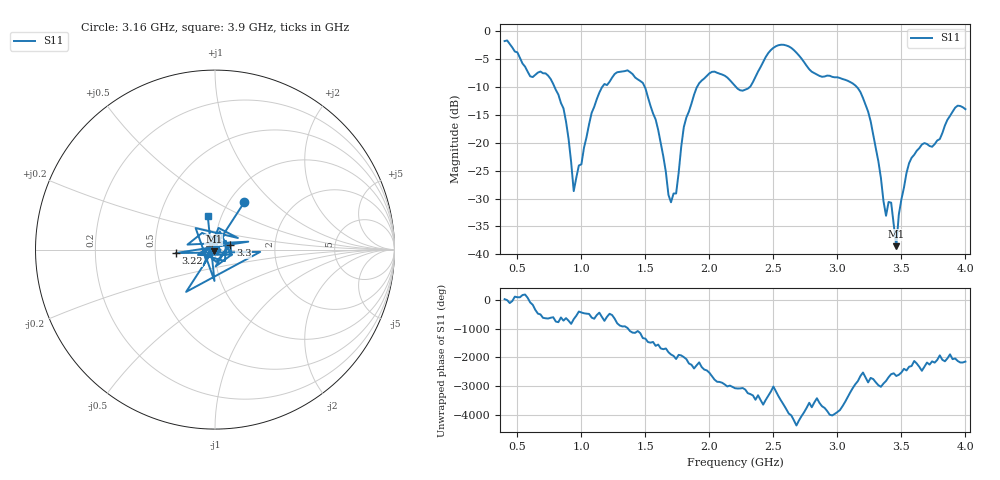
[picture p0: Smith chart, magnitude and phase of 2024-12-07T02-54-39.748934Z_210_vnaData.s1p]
!Created with skrf (http://scikit-rf.org).
# Hz S RI R 50.0
!freq ReS11 ImS11
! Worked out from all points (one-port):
!   181 points, 400 MHz to 4 GHz, reference 50 ohm
!   lowest |S11| = -38.5 dB at 3.46 GHz (marker M1), VSWR 1.02, Z = 49.3 - j0.974 ohm
!   |S11| at or under -10 dB: 790.4 MHz to 1.162 GHz (371.5 MHz wide, 38.1 % of centre); 1.496 GHz to 1.903 GHz (407.3 MHz wide, 24 % of centre); 3.152 GHz to end of sweep (the widest 3 of 4)
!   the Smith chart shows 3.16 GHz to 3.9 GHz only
!   S11 on the Smith chart (normalised r, x): 3.16 GHz: 1.17, +0.68; 3.22 GHz: 0.64, -0.03; 3.3 GHz: 1.19, +0.06; 3.9 GHz: 0.86, +0.33
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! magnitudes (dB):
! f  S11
! 400 MHz  -1.8
! 600 MHz  -8.1
! 740 MHz  -8.0
! 860 MHz  -13.8
! 940 MHz  -28.7
! 1.12 GHz  -12.2
! 1.3 GHz  -7.3
! 1.5 GHz  -10.2
! 1.6 GHz  -17.7
! 1.7 GHz  -30.7
! 1.76 GHz  -25.3
! 1.8 GHz  -17.2
! 1.92 GHz  -9.3
! 2.2 GHz  -9.8
! 2.32 GHz  -9.9
! 2.52 GHz  -2.7
! 2.66 GHz  -3.4
! 3.1 GHz  -9.1
! 3.16 GHz  -10.2
! 3.22 GHz  -13.2
! 3.3 GHz  -21.0
! 3.38 GHz  -33.1
! 3.42 GHz  -30.7
! 3.46 GHz  -38.5
! 3.48 GHz  -32.8
! 3.56 GHz  -23.7
! 3.9 GHz  -14.4
! 4 GHz  -14.0
